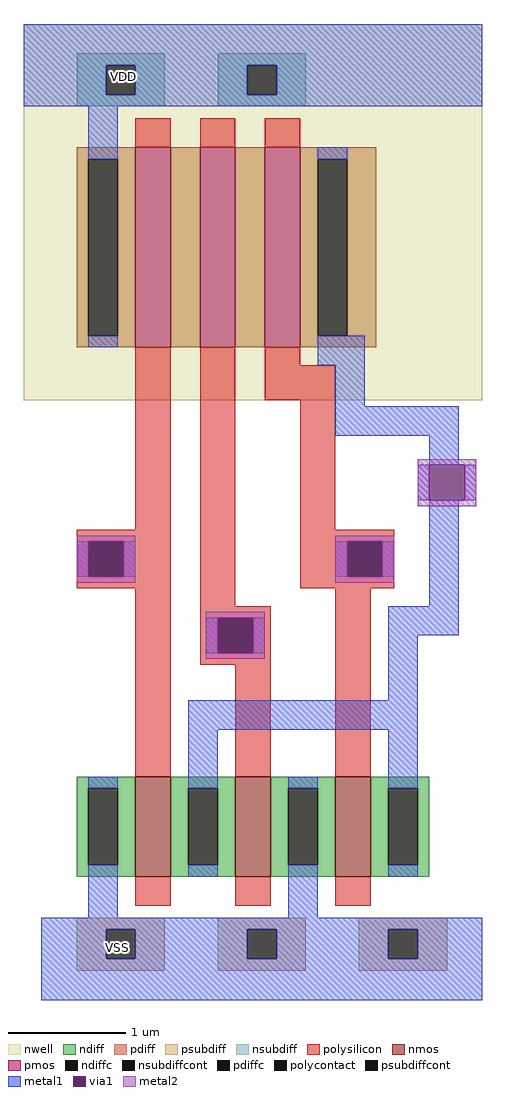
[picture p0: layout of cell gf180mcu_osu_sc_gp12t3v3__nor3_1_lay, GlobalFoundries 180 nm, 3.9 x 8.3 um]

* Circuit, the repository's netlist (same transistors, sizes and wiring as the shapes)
* SPICE3 file created from gf180mcu_osu_sc_gp12t3v3__nor3_1_lay.ext - technology: gf180mcuD

X0 a_220_210# a_60_700# VSS VSS nfet_03v3 ad=0.23375p pd=1.4u as=0.425p ps=2.7u w=0.85u l=0.3u
X1 VSS a_270_570# a_220_210# VSS nfet_03v3 ad=0.23375p pd=1.4u as=0.23375p ps=1.4u w=0.85u l=0.3u
X2 a_330_1110# a_270_570# a_220_1110# VDD pfet_03v3 ad=0.2125p pd=1.95u as=0.2125p ps=1.95u w=1.7u l=0.3u
X3 a_220_210# a_380_1020# VSS VSS nfet_03v3 ad=0.425p pd=2.7u as=0.23375p ps=1.4u w=0.85u l=0.3u
X4 a_220_210# a_380_1020# a_330_1110# VDD pfet_03v3 ad=1.105p pd=4.7u as=0.2125p ps=1.95u w=1.7u l=0.3u
X5 a_220_1110# a_60_700# VDD VDD pfet_03v3 ad=0.2125p pd=1.95u as=0.85p ps=4.4u w=1.7u l=0.3u

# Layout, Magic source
magic
tech gf180mcuD
<< nwell >>
rect -3 102 75 166
<< nmos >>
rect 16 21 22 38
rect 33 21 39 38
rect 50 21 56 38
<< pmos >>
rect 16 111 22 145
rect 27 111 33 145
rect 38 111 44 145
<< ndiff >>
rect 6 36 16 38
rect 6 23 8 36
rect 13 23 16 36
rect 6 21 16 23
rect 22 36 33 38
rect 22 23 25 36
rect 30 23 33 36
rect 22 21 33 23
rect 39 36 50 38
rect 39 23 42 36
rect 47 23 50 36
rect 39 21 50 23
rect 56 36 66 38
rect 56 23 59 36
rect 64 23 66 36
rect 56 21 66 23
<< pdiff >>
rect 6 143 16 145
rect 6 113 8 143
rect 13 113 16 143
rect 6 111 16 113
rect 22 111 27 145
rect 33 111 38 145
rect 44 143 57 145
rect 44 113 47 143
rect 52 113 57 143
rect 44 111 57 113
<< ndiffc >>
rect 8 23 13 36
rect 25 23 30 36
rect 42 23 47 36
rect 59 23 64 36
<< pdiffc >>
rect 8 113 13 143
rect 47 113 52 143
<< psubdiff >>
rect 6 12 21 14
rect 6 7 11 12
rect 16 7 21 12
rect 6 5 21 7
rect 30 12 45 14
rect 30 7 35 12
rect 40 7 45 12
rect 30 5 45 7
rect 54 12 69 14
rect 54 7 59 12
rect 64 7 69 12
rect 54 5 69 7
<< nsubdiff >>
rect 6 159 21 161
rect 6 154 11 159
rect 16 154 21 159
rect 6 152 21 154
rect 30 159 45 161
rect 30 154 35 159
rect 40 154 45 159
rect 30 152 45 154
<< psubdiffcont >>
rect 11 7 16 12
rect 35 7 40 12
rect 59 7 64 12
<< nsubdiffcont >>
rect 11 154 16 159
rect 35 154 40 159
<< polysilicon >>
rect 16 145 22 150
rect 27 145 33 150
rect 38 145 44 150
rect 16 80 22 111
rect 6 78 22 80
rect 6 72 8 78
rect 14 72 22 78
rect 6 70 22 72
rect 16 38 22 70
rect 27 67 33 111
rect 38 108 44 111
rect 38 102 50 108
rect 44 80 50 102
rect 44 78 60 80
rect 44 72 52 78
rect 58 72 60 78
rect 44 70 60 72
rect 27 65 39 67
rect 27 59 30 65
rect 36 59 39 65
rect 27 57 39 59
rect 33 38 39 57
rect 50 38 56 70
rect 16 16 22 21
rect 33 16 39 21
rect 50 16 56 21
<< polycontact >>
rect 8 72 14 78
rect 52 72 58 78
rect 30 59 36 65
<< metal1 >>
rect -3 159 75 166
rect -3 154 11 159
rect 16 154 35 159
rect 40 154 75 159
rect -3 152 75 154
rect 8 143 13 152
rect 8 111 13 113
rect 47 143 52 145
rect 47 108 55 113
rect 50 101 55 108
rect 50 96 71 101
rect 66 91 71 96
rect 64 85 66 91
rect 72 85 74 91
rect 6 72 8 78
rect 14 72 16 78
rect 50 72 52 78
rect 58 72 60 78
rect 66 67 71 85
rect 28 59 30 65
rect 36 59 38 65
rect 59 62 71 67
rect 59 51 64 62
rect 25 46 64 51
rect 8 36 13 38
rect 8 14 13 23
rect 25 36 30 46
rect 25 21 30 23
rect 42 36 47 38
rect 42 14 47 23
rect 59 36 64 46
rect 59 21 64 23
rect 0 12 75 14
rect 0 7 11 12
rect 16 7 35 12
rect 40 7 59 12
rect 64 7 75 12
rect 0 0 75 7
<< via1 >>
rect 66 85 72 91
rect 8 72 14 78
rect 52 72 58 78
rect 30 59 36 65
<< metal2 >>
rect 64 91 74 92
rect 64 85 66 91
rect 72 85 74 91
rect 64 84 74 85
rect 6 78 16 79
rect 6 72 8 78
rect 14 72 16 78
rect 6 71 16 72
rect 50 78 60 79
rect 50 72 52 78
rect 58 72 60 78
rect 50 71 60 72
rect 28 65 38 66
rect 28 59 30 65
rect 36 59 38 65
rect 28 58 38 59
<< labels >>
rlabel nsubdiffcont 14 157 14 157 1 VDD
port 4 n
rlabel psubdiffcont 13 9 13 9 1 VSS
port 5 n
<< end >>
